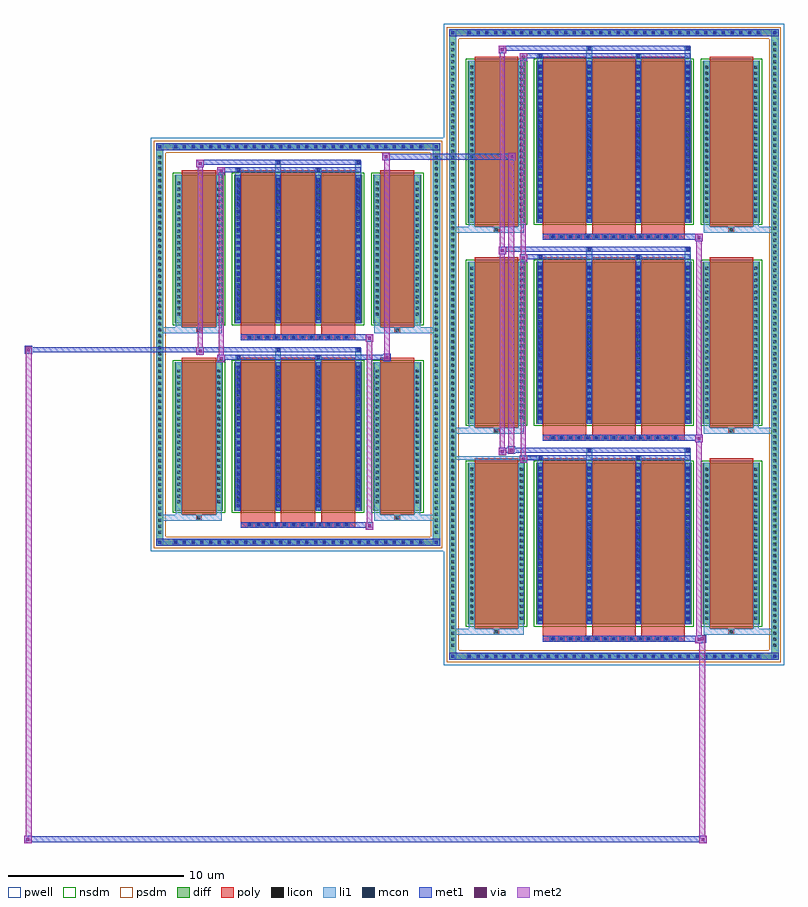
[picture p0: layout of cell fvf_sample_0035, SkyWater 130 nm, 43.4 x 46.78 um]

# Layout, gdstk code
import gdstk
lib = gdstk.Library(unit=1e-6, precision=1e-09)
def R(c, l, rs):  # rectangles x0, y0, x1, y1
    for r in rs: c.add(gdstk.rectangle(r[:2], r[2:], *l))
def A(c, l, x, y, w, h, nx, ny, dx, dy):  # array of equal rectangles
    R(c, l, [(x+i*dx, y+j*dy, x+i*dx+w, y+j*dy+h) for i in range(nx) for j in range(ny)])
def P(c, l, *ps):  # polygons
    for p in ps: c.add(gdstk.Polygon(p, *l))
pwell = (64, 44)
diff = (65, 20)
poly = (66, 20)
licon = (66, 44)
li1 = (67, 20)
mcon = (67, 44)
met1 = (68, 20)
via = (68, 44)
met2 = (69, 20)
nsdm = (93, 44)
psdm = (94, 20)

fvf_sample_0035 = lib.new_cell('fvf_sample_0035')
R(fvf_sample_0035, pwell, [(8.315,-18.314,27.745,18.314), (-8.415,-11.811,8.415,11.811)])
A(fvf_sample_0035, diff, 9.575, -18.004, 0.41, 0.41, 34, 2, 0.5, 35.598)
A(fvf_sample_0035, diff, 8.625, -17.375, 0.41, 0.41, 1, 102, 0, 0.34)
A(fvf_sample_0035, diff, 27.025, -17.375, 0.41, 0.41, 1, 102, 0, 0.34)
A(fvf_sample_0035, diff, 9.695, -15.983, 3.258, 9.23, 1, 3, 0, 11.476)
A(fvf_sample_0035, diff, 13.593, -15.983, 8.874, 9.23, 1, 3, 0, 11.476)
A(fvf_sample_0035, diff, 23.107, -15.983, 3.258, 9.23, 1, 3, 0, 11.476)
A(fvf_sample_0035, diff, -7.205, -11.501, 0.41, 0.41, 29, 2, 0.5, 22.592)
A(fvf_sample_0035, diff, -8.105, -10.915, 0.41, 0.41, 1, 64, 0, 0.34)
A(fvf_sample_0035, diff, 7.695, -10.915, 0.41, 0.41, 1, 64, 0, 0.34)
R(fvf_sample_0035, diff, [(9.575,-18.004,26.485,-17.594), (8.625,-17.375,9.035,17.375), (27.025,-17.375,27.435,17.375), (-7.205,-11.501,7.205,-11.091), (-8.105,-10.915,-7.695,10.915), (7.695,-10.915,8.105,10.915), (-7.035,-9.48,-4.297,-1.016), (-3.657,-9.48,3.657,-1.016), (4.297,-9.48,7.035,-1.016), (-7.035,1.232,-4.297,9.696), (-3.657,1.232,3.657,9.696), (4.297,1.232,7.035,9.696), (-7.205,11.091,7.205,11.501), (9.575,17.594,26.485,18.004)])
P(fvf_sample_0035, diff, [(8.105,11.501),(-8.105,11.501),(-8.105,-11.091),(-7.695,-11.091),(-7.695,11.091),(7.695,11.091),(7.695,-11.091),(-7.695,-11.091),(-8.105,-11.091),(-8.105,-11.501),(8.105,-11.501)],
  [(27.435,18.004),(8.625,18.004),(8.625,-17.594),(9.035,-17.594),(9.035,17.594),(27.025,17.594),(27.025,-17.594),(9.035,-17.594),(8.625,-17.594),(8.625,-18.004),(27.435,-18.004)])
A(fvf_sample_0035, poly, 13.983, -16.964, 8.094, 0.33, 1, 3, 0, 11.476)
A(fvf_sample_0035, poly, 14.365, -16.964, 0.33, 0.33, 15, 3, 0.5, 11.476)
A(fvf_sample_0035, poly, 13.983, -16.634, 2.478, 0.401, 3, 3, 2.808, 11.476)
A(fvf_sample_0035, poly, 10.085, -16.233, 2.478, 9.73, 1, 3, 0, 11.476)
A(fvf_sample_0035, poly, 13.983, -16.233, 2.478, 9.73, 3, 3, 2.808, 11.476)
A(fvf_sample_0035, poly, 23.497, -16.233, 2.478, 9.73, 1, 3, 0, 11.476)
A(fvf_sample_0035, poly, -2.915, -10.462, 0.33, 0.33, 12, 2, 0.5, 10.712)
A(fvf_sample_0035, poly, -3.267, -10.132, 1.958, 0.402, 3, 2, 2.288, 10.712)
A(fvf_sample_0035, poly, -3.267, -9.73, 1.958, 8.964, 3, 2, 2.288, 10.712)
R(fvf_sample_0035, poly, [(11.159,-16.563,11.489,-16.233), (11.159,-16.563,11.489,-16.233), (24.571,-16.563,24.901,-16.233), (24.571,-16.563,24.901,-16.233), (-3.267,-10.462,3.267,-10.132), (-5.831,-10.06,-5.501,-9.73), (-5.831,-10.06,-5.501,-9.73), (5.501,-10.06,5.831,-9.73), (5.501,-10.06,5.831,-9.73), (-6.645,-9.73,-4.687,-0.766), (4.687,-9.73,6.645,-0.766), (11.159,-5.087,11.489,-4.757), (11.159,-5.087,11.489,-4.757), (24.571,-5.087,24.901,-4.757), (24.571,-5.087,24.901,-4.757), (-3.267,0.25,3.267,0.58), (-5.831,0.652,-5.501,0.982), (-5.831,0.652,-5.501,0.982), (5.501,0.652,5.831,0.982), (5.501,0.652,5.831,0.982), (-6.645,0.982,-4.687,9.946), (4.687,0.982,6.645,9.946), (11.159,6.389,11.489,6.719), (11.159,6.389,11.489,6.719), (24.571,6.389,24.901,6.719), (24.571,6.389,24.901,6.719)])
A(fvf_sample_0035, licon, 9.695, -17.884, 0.17, 0.17, 34, 2, 0.5, 35.598)
A(fvf_sample_0035, licon, 8.745, -17.255, 0.17, 0.17, 1, 102, 0, 0.34)
A(fvf_sample_0035, licon, 27.145, -17.255, 0.17, 0.17, 1, 102, 0, 0.34)
A(fvf_sample_0035, licon, 14.445, -16.884, 0.17, 0.17, 15, 3, 0.5, 11.476)
A(fvf_sample_0035, licon, 11.239, -16.483, 0.17, 0.17, 1, 3, 0, 11.476)
A(fvf_sample_0035, licon, 24.651, -16.483, 0.17, 0.17, 1, 3, 0, 11.476)
A(fvf_sample_0035, licon, 9.835, -15.703, 0.17, 0.17, 1, 26, 0, 0.34)
A(fvf_sample_0035, licon, 12.643, -15.703, 0.17, 0.17, 1, 26, 0, 0.34)
A(fvf_sample_0035, licon, 13.733, -15.703, 0.17, 0.17, 4, 26, 2.808, 0.34)
A(fvf_sample_0035, licon, 23.247, -15.703, 0.17, 0.17, 1, 26, 0, 0.34)
A(fvf_sample_0035, licon, 26.055, -15.703, 0.17, 0.17, 1, 26, 0, 0.34)
A(fvf_sample_0035, licon, -7.085, -11.381, 0.17, 0.17, 29, 2, 0.5, 22.592)
A(fvf_sample_0035, licon, -7.985, -10.795, 0.17, 0.17, 1, 64, 0, 0.34)
A(fvf_sample_0035, licon, 7.815, -10.795, 0.17, 0.17, 1, 64, 0, 0.34)
A(fvf_sample_0035, licon, -2.835, -10.382, 0.17, 0.17, 12, 2, 0.5, 10.712)
A(fvf_sample_0035, licon, -6.895, -9.073, 0.17, 0.17, 1, 23, 0, 0.34)
A(fvf_sample_0035, licon, -4.607, -9.073, 0.17, 0.17, 1, 23, 0, 0.34)
A(fvf_sample_0035, licon, -3.517, -9.073, 0.17, 0.17, 4, 23, 2.288, 0.34)
A(fvf_sample_0035, licon, 4.437, -9.073, 0.17, 0.17, 1, 23, 0, 0.34)
A(fvf_sample_0035, licon, 6.725, -9.073, 0.17, 0.17, 1, 23, 0, 0.34)
A(fvf_sample_0035, licon, 9.835, -4.227, 0.17, 0.17, 1, 26, 0, 0.34)
A(fvf_sample_0035, licon, 12.643, -4.227, 0.17, 0.17, 1, 26, 0, 0.34)
A(fvf_sample_0035, licon, 13.733, -4.227, 0.17, 0.17, 4, 26, 2.808, 0.34)
A(fvf_sample_0035, licon, 23.247, -4.227, 0.17, 0.17, 1, 26, 0, 0.34)
A(fvf_sample_0035, licon, 26.055, -4.227, 0.17, 0.17, 1, 26, 0, 0.34)
A(fvf_sample_0035, licon, -6.895, 1.639, 0.17, 0.17, 1, 23, 0, 0.34)
A(fvf_sample_0035, licon, -4.607, 1.639, 0.17, 0.17, 1, 23, 0, 0.34)
A(fvf_sample_0035, licon, -3.517, 1.639, 0.17, 0.17, 4, 23, 2.288, 0.34)
A(fvf_sample_0035, licon, 4.437, 1.639, 0.17, 0.17, 1, 23, 0, 0.34)
A(fvf_sample_0035, licon, 6.725, 1.639, 0.17, 0.17, 1, 23, 0, 0.34)
A(fvf_sample_0035, licon, 9.835, 7.249, 0.17, 0.17, 1, 26, 0, 0.34)
A(fvf_sample_0035, licon, 12.643, 7.249, 0.17, 0.17, 1, 26, 0, 0.34)
A(fvf_sample_0035, licon, 13.733, 7.249, 0.17, 0.17, 4, 26, 2.808, 0.34)
A(fvf_sample_0035, licon, 23.247, 7.249, 0.17, 0.17, 1, 26, 0, 0.34)
A(fvf_sample_0035, licon, 26.055, 7.249, 0.17, 0.17, 1, 26, 0, 0.34)
R(fvf_sample_0035, licon, [(-5.751,-9.98,-5.581,-9.81), (5.581,-9.98,5.751,-9.81), (-5.751,0.732,-5.581,0.902), (5.581,0.732,5.751,0.902)])
A(fvf_sample_0035, li1, 9.615, -17.964, 0.33, 0.33, 34, 2, 0.5, 35.598)
A(fvf_sample_0035, li1, 8.665, -17.335, 0.33, 0.33, 1, 102, 0, 0.34)
A(fvf_sample_0035, li1, 27.065, -17.335, 0.33, 0.33, 1, 102, 0, 0.34)
A(fvf_sample_0035, li1, 14.365, -16.964, 0.33, 0.33, 15, 3, 0.5, 11.476)
A(fvf_sample_0035, li1, 8.625, -16.563, 2.534, 0.33, 1, 3, 0, 11.476)
A(fvf_sample_0035, li1, 9.755, -16.563, 0.33, 0.58, 1, 3, 0, 11.476)
A(fvf_sample_0035, li1, 9.755, -16.563, 1.404, 0.33, 1, 3, 0, 11.476)
A(fvf_sample_0035, li1, 11.159, -16.563, 0.33, 0.33, 1, 3, 0, 11.476)
A(fvf_sample_0035, li1, 11.489, -16.563, 1.404, 0.33, 1, 3, 0, 11.476)
A(fvf_sample_0035, li1, 12.563, -16.563, 0.33, 0.58, 1, 3, 0, 11.476)
A(fvf_sample_0035, li1, 23.167, -16.563, 0.33, 0.58, 1, 3, 0, 11.476)
A(fvf_sample_0035, li1, 23.167, -16.563, 1.404, 0.33, 1, 3, 0, 11.476)
A(fvf_sample_0035, li1, 24.571, -16.563, 0.33, 0.33, 1, 3, 0, 11.476)
A(fvf_sample_0035, li1, 24.571, -16.563, 2.864, 0.33, 1, 3, 0, 11.476)
A(fvf_sample_0035, li1, 24.901, -16.563, 1.404, 0.33, 1, 3, 0, 11.476)
A(fvf_sample_0035, li1, 25.975, -16.563, 0.33, 0.58, 1, 3, 0, 11.476)
A(fvf_sample_0035, li1, 9.755, -15.983, 0.33, 9.23, 1, 3, 0, 11.476)
A(fvf_sample_0035, li1, 12.563, -15.983, 0.33, 9.23, 1, 3, 0, 11.476)
A(fvf_sample_0035, li1, 13.653, -15.983, 0.33, 9.23, 4, 3, 2.808, 11.476)
A(fvf_sample_0035, li1, 23.167, -15.983, 0.33, 9.23, 1, 3, 0, 11.476)
A(fvf_sample_0035, li1, 25.975, -15.983, 0.33, 9.23, 1, 3, 0, 11.476)
A(fvf_sample_0035, li1, 9.755, -15.783, 0.33, 0.33, 1, 26, 0, 0.34)
A(fvf_sample_0035, li1, 12.563, -15.783, 0.33, 0.33, 1, 26, 0, 0.34)
A(fvf_sample_0035, li1, 13.653, -15.783, 0.33, 0.33, 4, 26, 2.808, 0.34)
A(fvf_sample_0035, li1, 23.167, -15.783, 0.33, 0.33, 1, 26, 0, 0.34)
A(fvf_sample_0035, li1, 25.975, -15.783, 0.33, 0.33, 1, 26, 0, 0.34)
A(fvf_sample_0035, li1, 13.733, -15.773, 0.17, 0.17, 4, 25, 2.808, 0.36)
A(fvf_sample_0035, li1, 13.733, -15.773, 0.17, 8.81, 4, 3, 2.808, 11.476)
A(fvf_sample_0035, li1, -7.165, -11.461, 0.33, 0.33, 29, 2, 0.5, 22.592)
A(fvf_sample_0035, li1, -8.065, -10.875, 0.33, 0.33, 1, 64, 0, 0.34)
A(fvf_sample_0035, li1, 7.735, -10.875, 0.33, 0.33, 1, 64, 0, 0.34)
A(fvf_sample_0035, li1, -2.915, -10.462, 0.33, 0.33, 12, 2, 0.5, 10.712)
A(fvf_sample_0035, li1, -3.597, -9.48, 0.33, 8.464, 4, 2, 2.288, 10.712)
A(fvf_sample_0035, li1, -3.517, -9.293, 0.17, 0.17, 4, 23, 2.288, 0.36)
A(fvf_sample_0035, li1, -3.517, -9.293, 0.17, 8.09, 4, 2, 2.288, 10.712)
A(fvf_sample_0035, li1, -6.975, -9.153, 0.33, 0.33, 1, 23, 0, 0.34)
A(fvf_sample_0035, li1, -4.687, -9.153, 0.33, 0.33, 1, 23, 0, 0.34)
A(fvf_sample_0035, li1, -3.597, -9.153, 0.33, 0.33, 4, 23, 2.288, 0.34)
A(fvf_sample_0035, li1, 4.357, -9.153, 0.33, 0.33, 1, 23, 0, 0.34)
A(fvf_sample_0035, li1, 6.645, -9.153, 0.33, 0.33, 1, 23, 0, 0.34)
A(fvf_sample_0035, li1, 13.653, -6.753, 0.33, 0.375, 1, 3, 0, 11.476)
A(fvf_sample_0035, li1, 16.461, -6.753, 0.33, 0.805, 1, 3, 0, 11.476)
A(fvf_sample_0035, li1, 19.269, -6.753, 0.33, 0.375, 1, 3, 0, 11.476)
A(fvf_sample_0035, li1, 22.077, -6.753, 0.33, 0.805, 1, 3, 0, 11.476)
A(fvf_sample_0035, li1, 13.733, -6.548, 0.17, 0.17, 1, 3, 0, 11.476)
A(fvf_sample_0035, li1, 19.349, -6.548, 0.17, 0.17, 1, 3, 0, 11.476)
A(fvf_sample_0035, li1, 16.541, -6.118, 0.17, 0.17, 1, 3, 0, 11.476)
A(fvf_sample_0035, li1, 22.157, -6.118, 0.17, 0.17, 1, 3, 0, 11.476)
A(fvf_sample_0035, li1, 9.755, -4.307, 0.33, 0.33, 1, 26, 0, 0.34)
A(fvf_sample_0035, li1, 12.563, -4.307, 0.33, 0.33, 1, 26, 0, 0.34)
A(fvf_sample_0035, li1, 13.653, -4.307, 0.33, 0.33, 4, 26, 2.808, 0.34)
A(fvf_sample_0035, li1, 23.167, -4.307, 0.33, 0.33, 1, 26, 0, 0.34)
A(fvf_sample_0035, li1, 25.975, -4.307, 0.33, 0.33, 1, 26, 0, 0.34)
A(fvf_sample_0035, li1, 13.733, -4.297, 0.17, 0.17, 4, 25, 2.808, 0.36)
A(fvf_sample_0035, li1, -3.517, 1.419, 0.17, 0.17, 4, 23, 2.288, 0.36)
A(fvf_sample_0035, li1, -6.975, 1.559, 0.33, 0.33, 1, 23, 0, 0.34)
A(fvf_sample_0035, li1, -4.687, 1.559, 0.33, 0.33, 1, 23, 0, 0.34)
A(fvf_sample_0035, li1, -3.597, 1.559, 0.33, 0.33, 4, 23, 2.288, 0.34)
A(fvf_sample_0035, li1, 4.357, 1.559, 0.33, 0.33, 1, 23, 0, 0.34)
A(fvf_sample_0035, li1, 6.645, 1.559, 0.33, 0.33, 1, 23, 0, 0.34)
A(fvf_sample_0035, li1, 9.755, 7.169, 0.33, 0.33, 1, 26, 0, 0.34)
A(fvf_sample_0035, li1, 12.563, 7.169, 0.33, 0.33, 1, 26, 0, 0.34)
A(fvf_sample_0035, li1, 13.653, 7.169, 0.33, 0.33, 4, 26, 2.808, 0.34)
A(fvf_sample_0035, li1, 23.167, 7.169, 0.33, 0.33, 1, 26, 0, 0.34)
A(fvf_sample_0035, li1, 25.975, 7.169, 0.33, 0.33, 1, 26, 0, 0.34)
A(fvf_sample_0035, li1, 13.733, 7.179, 0.17, 0.17, 4, 25, 2.808, 0.36)
R(fvf_sample_0035, li1, [(8.625,-18.004,9.035,-17.594), (27.025,-18.004,27.435,-17.594), (9.615,-17.964,26.445,-17.634), (8.745,-17.884,8.915,-17.714), (8.745,-17.884,8.915,-17.714), (27.145,-17.884,27.315,-17.714), (27.145,-17.884,27.315,-17.714), (8.625,-17.594,9.035,17.594), (27.025,-17.594,27.435,17.594), (-8.105,-11.501,-7.695,-11.091), (7.695,-11.501,8.105,-11.091), (-7.165,-11.461,7.165,-11.131), (-7.985,-11.381,-7.815,-11.211), (-7.985,-11.381,-7.815,-11.211), (7.815,-11.381,7.985,-11.211), (7.815,-11.381,7.985,-11.211), (-8.105,-11.091,-7.695,11.091), (7.695,-11.091,8.105,11.091), (-8.105,-10.06,-5.831,-9.73), (-6.975,-10.06,-5.831,-9.73), (-6.975,-10.06,-6.645,-9.48), (-5.831,-10.06,-5.501,-9.73), (-5.501,-10.06,-4.357,-9.73), (-4.687,-10.06,-4.357,-9.48), (4.357,-10.06,5.501,-9.73), (4.357,-10.06,4.687,-9.48), (5.501,-10.06,5.831,-9.73), (5.501,-10.06,8.105,-9.73), (5.831,-10.06,6.975,-9.73), (6.645,-10.06,6.975,-9.48), (-6.975,-9.48,-6.645,-1.016), (-4.687,-9.48,-4.357,-1.016), (4.357,-9.48,4.687,-1.016), (6.645,-9.48,6.975,-1.016), (13.673,-6.608,13.963,-6.318), (8.625,-6.563,13.673,-6.363), (13.733,-6.548,13.903,-6.378), (-3.597,-1.016,-3.267,-0.641), (-1.309,-1.016,-0.979,-0.211), (0.979,-1.016,1.309,-0.641), (3.267,-1.016,3.597,-0.211), (-3.517,-0.811,-3.347,-0.641), (1.059,-0.811,1.229,-0.641), (-1.229,-0.381,-1.059,-0.211), (3.347,-0.381,3.517,-0.211), (-8.105,0.652,-5.831,0.982), (-6.975,0.652,-5.831,0.982), (-6.975,0.652,-6.645,1.232), (-5.831,0.652,-5.501,0.982), (-5.501,0.652,-4.357,0.982), (-4.687,0.652,-4.357,1.232), (4.357,0.652,5.501,0.982), (4.357,0.652,4.687,1.232), (5.501,0.652,5.831,0.982), (5.501,0.652,8.105,0.982), (5.831,0.652,6.975,0.982), (6.645,0.652,6.975,1.232), (-6.975,1.232,-6.645,9.696), (-4.687,1.232,-4.357,9.696), (4.357,1.232,4.687,9.696), (6.645,1.232,6.975,9.696), (-3.597,9.696,-3.267,10.071), (-1.309,9.696,-0.979,10.501), (0.979,9.696,1.309,10.071), (3.267,9.696,3.597,10.501), (-3.517,9.901,-3.347,10.071), (1.059,9.901,1.229,10.071), (-1.229,10.331,-1.059,10.501), (3.347,10.331,3.517,10.501), (-8.105,11.091,-7.695,11.501), (7.695,11.091,8.105,11.501), (-7.165,11.131,7.165,11.461), (-7.985,11.211,-7.815,11.381), (-7.985,11.211,-7.815,11.381), (7.815,11.211,7.985,11.381), (7.815,11.211,7.985,11.381), (8.625,17.594,9.035,18.004), (27.025,17.594,27.435,18.004), (9.615,17.634,26.445,17.964), (8.745,17.714,8.915,17.884), (8.745,17.714,8.915,17.884), (27.145,17.714,27.315,17.884), (27.145,17.714,27.315,17.884)])
A(fvf_sample_0035, mcon, 9.695, -17.884, 0.17, 0.17, 34, 2, 0.5, 35.598)
A(fvf_sample_0035, mcon, 14.445, -16.884, 0.17, 0.17, 15, 3, 0.5, 11.476)
A(fvf_sample_0035, mcon, 13.733, -15.773, 0.17, 0.17, 4, 25, 2.808, 0.36)
A(fvf_sample_0035, mcon, -7.085, -11.381, 0.17, 0.17, 29, 2, 0.5, 22.592)
A(fvf_sample_0035, mcon, -2.835, -10.382, 0.17, 0.17, 12, 2, 0.5, 10.712)
A(fvf_sample_0035, mcon, -3.517, -9.293, 0.17, 0.17, 4, 23, 2.288, 0.36)
A(fvf_sample_0035, mcon, 13.733, -6.548, 0.17, 0.17, 1, 3, 0, 11.476)
A(fvf_sample_0035, mcon, 19.349, -6.548, 0.17, 0.17, 1, 3, 0, 11.476)
A(fvf_sample_0035, mcon, 16.541, -6.118, 0.17, 0.17, 1, 3, 0, 11.476)
A(fvf_sample_0035, mcon, 22.157, -6.118, 0.17, 0.17, 1, 3, 0, 11.476)
A(fvf_sample_0035, mcon, 13.733, -4.297, 0.17, 0.17, 4, 25, 2.808, 0.36)
A(fvf_sample_0035, mcon, -3.517, 1.419, 0.17, 0.17, 4, 23, 2.288, 0.36)
A(fvf_sample_0035, mcon, 13.733, 7.179, 0.17, 0.17, 4, 25, 2.808, 0.36)
R(fvf_sample_0035, mcon, [(8.745,-17.884,8.915,-17.714), (27.145,-17.884,27.315,-17.714), (-7.985,-11.381,-7.815,-11.211), (7.815,-11.381,7.985,-11.211), (13.733,-6.548,13.903,-6.378), (-3.517,-0.811,-3.347,-0.641), (1.059,-0.811,1.229,-0.641), (-1.229,-0.381,-1.059,-0.211), (3.347,-0.381,3.517,-0.211), (-3.517,9.901,-3.347,10.071), (1.059,9.901,1.229,10.071), (-1.229,10.331,-1.059,10.501), (3.347,10.331,3.517,10.501), (-7.985,11.211,-7.815,11.381), (7.815,11.211,7.985,11.381), (8.745,17.714,8.915,17.884), (27.145,17.714,27.315,17.884)])
A(fvf_sample_0035, met1, 9.635, -17.944, 0.29, 0.29, 34, 2, 0.5, 35.598)
A(fvf_sample_0035, met1, 13.983, -16.964, 8.094, 0.33, 1, 3, 0, 11.476)
A(fvf_sample_0035, met1, 14.385, -16.944, 0.29, 0.29, 15, 3, 0.5, 11.476)
A(fvf_sample_0035, met1, 13.673, -15.983, 0.29, 9.23, 4, 3, 2.808, 11.476)
A(fvf_sample_0035, met1, 13.673, -15.833, 0.29, 0.29, 4, 25, 2.808, 0.36)
A(fvf_sample_0035, met1, -7.145, -11.441, 0.29, 0.29, 29, 2, 0.5, 22.592)
A(fvf_sample_0035, met1, -2.895, -10.442, 0.29, 0.29, 12, 2, 0.5, 10.712)
A(fvf_sample_0035, met1, -3.577, -9.48, 0.29, 8.464, 4, 2, 2.288, 10.712)
A(fvf_sample_0035, met1, -3.577, -9.353, 0.29, 0.29, 4, 23, 2.288, 0.36)
A(fvf_sample_0035, met1, 13.673, -6.608, 0.29, 0.29, 1, 3, 0, 11.476)
A(fvf_sample_0035, met1, 19.289, -6.608, 0.29, 0.29, 1, 3, 0, 11.476)
A(fvf_sample_0035, met1, 16.481, -6.178, 0.29, 0.29, 1, 3, 0, 11.476)
A(fvf_sample_0035, met1, 22.097, -6.178, 0.29, 0.29, 1, 3, 0, 11.476)
A(fvf_sample_0035, met1, 13.673, -4.357, 0.29, 0.29, 4, 25, 2.808, 0.36)
A(fvf_sample_0035, met1, -3.577, 1.359, 0.29, 0.29, 4, 23, 2.288, 0.36)
A(fvf_sample_0035, met1, 13.673, 7.119, 0.29, 0.29, 4, 25, 2.808, 0.36)
R(fvf_sample_0035, met1, [(-15.653,-28.469,-15.223,-28.039), (22.912,-28.469,23.342,-28.039), (-15.653,-28.419,23.342,-28.089), (-15.653,-28.089,-15.223,-28.039), (22.912,-28.089,23.342,-28.039), (8.625,-18.004,9.035,-17.594), (8.625,-18.004,9.035,-17.594), (9.035,-18.004,27.025,-17.594), (27.025,-18.004,27.435,-17.594), (27.025,-18.004,27.435,-17.594), (8.685,-17.944,8.975,-17.654), (27.085,-17.944,27.375,-17.654), (22.677,-17.064,23.107,-16.634), (22.862,-17.014,23.292,-16.584), (22.077,-16.964,23.107,-16.634), (22.077,-16.964,22.862,-16.634), (-8.105,-11.501,-7.695,-11.091), (-8.105,-11.501,-7.695,-11.091), (-7.695,-11.501,7.695,-11.091), (7.695,-11.501,8.105,-11.091), (7.695,-11.501,8.105,-11.091), (-8.045,-11.441,-7.755,-11.151), (7.755,-11.441,8.045,-11.151), (3.867,-10.562,4.297,-10.132), (-3.267,-10.462,3.267,-10.132), (3.267,-10.462,4.297,-10.132), (12.643,-6.748,13.073,-6.318), (12.643,-6.608,13.673,-6.318), (13.673,-6.608,13.963,-6.318), (13.673,-6.608,22.387,-6.318), (11.443,-6.318,11.873,-5.888), (11.958,-6.248,12.388,-5.818), (11.443,-6.178,13.673,-5.888), (12.388,-6.178,13.673,-5.888), (13.673,-6.178,22.387,-5.888), (22.677,-5.588,23.107,-5.158), (22.677,-5.588,23.107,-5.158), (22.077,-5.488,23.107,-5.158), (22.077,-5.488,23.107,-5.158), (-4.607,-1.011,-4.177,-0.581), (4.862,-0.941,5.292,-0.511), (-4.607,-0.871,-3.577,-0.581), (-3.577,-0.871,-3.287,-0.581), (-3.577,-0.871,3.577,-0.581), (0.999,-0.871,1.289,-0.581), (3.577,-0.871,4.862,-0.581), (-5.807,-0.581,-5.377,-0.151), (-15.603,-0.511,-15.173,-0.081), (-15.173,-0.441,-3.577,-0.151), (-5.807,-0.441,-3.577,-0.151), (-3.577,-0.441,3.577,-0.151), (-1.289,-0.441,-0.999,-0.151), (3.287,-0.441,3.577,-0.151), (3.867,0.15,4.297,0.58), (-3.267,0.25,3.267,0.58), (3.267,0.25,4.297,0.58), (12.643,4.728,13.073,5.158), (12.643,4.728,13.073,5.158), (12.643,4.868,13.673,5.158), (12.643,4.868,13.673,5.158), (13.673,4.868,22.387,5.158), (11.443,5.158,11.873,5.588), (11.443,5.158,11.873,5.588), (11.443,5.298,13.673,5.588), (11.443,5.298,13.673,5.588), (13.673,5.298,22.387,5.588), (22.677,5.888,23.107,6.318), (22.077,5.988,23.107,6.318), (-4.607,9.701,-4.177,10.131), (-4.607,9.841,-3.577,10.131), (-3.577,9.841,-3.287,10.131), (-3.577,9.841,3.577,10.131), (0.999,9.841,1.289,10.131), (-5.807,10.131,-5.377,10.561), (-5.807,10.271,-3.577,10.561), (-3.577,10.271,3.577,10.561), (-1.289,10.271,-0.999,10.561), (3.287,10.271,3.577,10.561), (4.812,10.514,5.242,10.944), (12.008,10.514,12.438,10.944), (4.812,10.564,12.438,10.894), (4.812,10.894,5.242,10.944), (12.008,10.894,12.438,10.944), (-8.105,11.091,-7.695,11.501), (-8.105,11.091,-7.695,11.501), (-7.695,11.091,7.695,11.501), (7.695,11.091,8.105,11.501), (7.695,11.091,8.105,11.501), (-8.045,11.151,-7.755,11.441), (7.755,11.151,8.045,11.441), (12.643,16.204,13.073,16.634), (12.643,16.344,13.673,16.634), (13.673,16.344,22.387,16.634), (11.443,16.634,11.873,17.064), (11.443,16.774,13.673,17.064), (13.673,16.774,22.387,17.064), (8.625,17.594,9.035,18.004), (8.625,17.594,9.035,18.004), (9.035,17.594,27.025,18.004), (27.025,17.594,27.435,18.004), (27.025,17.594,27.435,18.004), (8.685,17.654,8.975,17.944), (27.085,17.654,27.375,17.944)])
R(fvf_sample_0035, via, [(-15.513,-28.329,-15.363,-28.179), (23.052,-28.329,23.202,-28.179), (22.817,-16.924,22.967,-16.774), (23.002,-16.874,23.152,-16.724), (4.007,-10.422,4.157,-10.272), (12.783,-6.608,12.933,-6.458), (11.583,-6.178,11.733,-6.028), (12.098,-6.108,12.248,-5.958), (22.817,-5.448,22.967,-5.298), (22.817,-5.448,22.967,-5.298), (-4.467,-0.871,-4.317,-0.721), (5.002,-0.801,5.152,-0.651), (-5.667,-0.441,-5.517,-0.291), (-15.463,-0.371,-15.313,-0.221), (4.007,0.29,4.157,0.44), (12.783,4.868,12.933,5.018), (12.783,4.868,12.933,5.018), (11.583,5.298,11.733,5.448), (11.583,5.298,11.733,5.448), (22.817,6.028,22.967,6.178), (-4.467,9.841,-4.317,9.991), (-5.667,10.271,-5.517,10.421), (4.952,10.654,5.102,10.804), (12.148,10.654,12.298,10.804), (12.783,16.344,12.933,16.494), (11.583,16.774,11.733,16.924)])
R(fvf_sample_0035, met2, [(-15.653,-28.469,-15.223,-28.039), (-15.553,-28.469,-15.223,-0.461), (22.912,-28.469,23.342,-28.039), (22.912,-28.469,23.242,-16.964), (-15.603,-28.419,-15.273,-28.089), (22.962,-28.419,23.292,-28.089), (22.677,-17.064,23.107,-16.634), (22.727,-17.064,23.057,-5.158), (23.057,-17.064,23.107,-16.634), (22.727,-17.014,23.057,-16.684), (22.912,-16.964,23.242,-16.634), (3.867,-10.562,4.297,-10.132), (3.917,-10.562,4.247,0.58), (4.247,-10.562,4.297,-10.132), (3.917,-10.512,4.247,-10.182), (12.643,-6.748,13.073,-6.318), (12.713,-6.748,13.003,5.158), (13.003,-6.748,13.073,-6.318), (12.693,-6.698,13.023,-6.368), (11.443,-6.318,11.873,-5.888), (11.513,-6.318,11.803,5.588), (11.803,-6.318,11.873,-5.888), (11.493,-6.268,11.823,-5.938), (12.008,-6.198,12.338,-5.868), (12.008,-5.868,12.338,10.944), (22.677,-5.588,23.107,-5.158), (22.677,-5.588,23.107,-5.158), (22.727,-5.588,23.057,6.318), (23.057,-5.588,23.107,-5.158), (23.057,-5.588,23.107,-5.158), (22.727,-5.538,23.057,-5.208), (22.727,-5.538,23.057,-5.208), (-4.607,-1.011,-4.177,-0.581), (-4.537,-1.011,-4.247,10.131), (-4.247,-1.011,-4.177,-0.581), (-4.557,-0.961,-4.227,-0.631), (4.912,-0.891,5.242,-0.561), (-5.807,-0.581,-5.377,-0.151), (-5.737,-0.581,-5.447,10.561), (-5.447,-0.581,-5.377,-0.151), (4.912,-0.561,5.242,10.944), (-5.757,-0.531,-5.427,-0.201), (-15.553,-0.461,-15.223,-0.131), (3.867,0.15,4.297,0.58), (4.247,0.15,4.297,0.58), (3.917,0.2,4.247,0.53), (12.643,4.728,13.073,5.158), (12.643,4.728,13.073,5.158), (12.713,4.728,13.003,16.634), (13.003,4.728,13.073,5.158), (13.003,4.728,13.073,5.158), (12.693,4.778,13.023,5.108), (12.693,4.778,13.023,5.108), (11.443,5.158,11.873,5.588), (11.443,5.158,11.873,5.588), (11.513,5.158,11.803,17.064), (11.803,5.158,11.873,5.588), (11.803,5.158,11.873,5.588), (11.493,5.208,11.823,5.538), (11.493,5.208,11.823,5.538), (22.677,5.888,23.107,6.318), (23.057,5.888,23.107,6.318), (22.727,5.938,23.057,6.268), (-4.607,9.701,-4.177,10.131), (-4.247,9.701,-4.177,10.131), (-4.557,9.751,-4.227,10.081), (-5.807,10.131,-5.377,10.561), (-5.447,10.131,-5.377,10.561), (-5.757,10.181,-5.427,10.511), (4.812,10.514,5.242,10.944), (12.008,10.514,12.438,10.944), (4.862,10.564,5.192,10.894), (12.058,10.564,12.388,10.894), (12.643,16.204,13.073,16.634), (13.003,16.204,13.073,16.634), (12.693,16.254,13.023,16.584), (11.443,16.634,11.873,17.064), (11.803,16.634,11.873,17.064), (11.493,16.684,11.823,17.014)])
A(fvf_sample_0035, nsdm, 9.565, -16.113, 3.518, 9.49, 1, 3, 0, 11.476)
A(fvf_sample_0035, nsdm, 13.463, -16.113, 9.134, 9.49, 1, 3, 0, 11.476)
A(fvf_sample_0035, nsdm, 22.977, -16.113, 3.518, 9.49, 1, 3, 0, 11.476)
R(fvf_sample_0035, nsdm, [(-7.165,-9.61,-4.167,-0.886), (-3.787,-9.61,3.787,-0.886), (4.167,-9.61,7.165,-0.886), (-7.165,1.102,-4.167,9.826), (-3.787,1.102,3.787,9.826), (4.167,1.102,7.165,9.826)])
P(fvf_sample_0035, psdm, [(8.235,11.631),(-8.235,11.631),(-8.235,-10.961),(-7.565,-10.961),(-7.565,10.961),(7.565,10.961),(7.565,-10.961),(-7.565,-10.961),(-8.235,-10.961),(-8.235,-11.631),(8.235,-11.631)],
  [(27.565,18.134),(8.495,18.134),(8.495,-17.464),(9.165,-17.464),(9.165,17.464),(26.895,17.464),(26.895,-17.464),(9.165,-17.464),(8.495,-17.464),(8.495,-18.134),(27.565,-18.134)])

lib.write_gds('fvf_sample_0035.gds')
